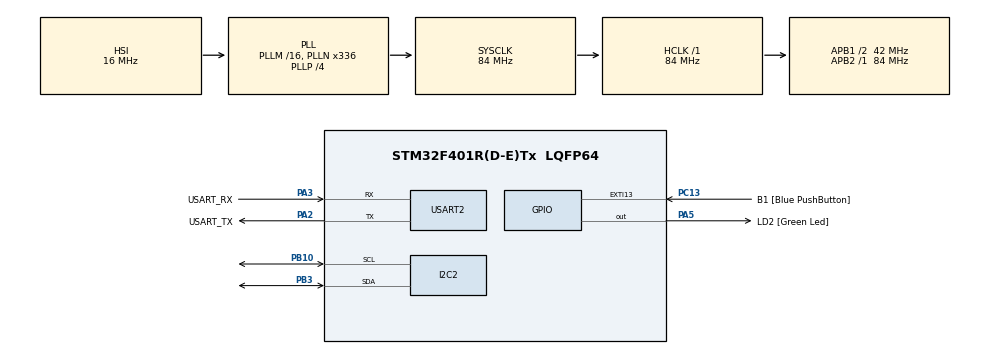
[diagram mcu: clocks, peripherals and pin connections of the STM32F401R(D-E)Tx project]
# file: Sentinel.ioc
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FREERTOS.Tasks01=defaultTask,24,128,StartDefaultTask,Default,NULL,Dynamic,NULL,NULL
Mcu.Family=STM32F4
Mcu.Name=STM32F401R(D-E)Tx
Mcu.Package=LQFP64
NVIC.PriorityGroup=NVIC_PRIORITYGROUP_4
NVIC.TIM1_TRG_COM_TIM11_IRQn=true\:15\:0\:false\:false\:true\:false\:false\:true\:true
NVIC.TimeBase=TIM1_TRG_COM_TIM11_IRQn
NVIC.TimeBaseIP=TIM11
PA13.GPIO_Label=TMS
PA13.Mode=Serial_Wire
PA13.Signal=SYS_JTMS-SWDIO
PA14.GPIO_Label=TCK
PA14.Mode=Serial_Wire
PA14.Signal=SYS_JTCK-SWCLK
PA2.GPIO_Label=USART_TX
PA2.GPIO_Mode=GPIO_MODE_AF_PP
PA2.GPIO_PuPd=GPIO_NOPULL
PA2.GPIO_Speed=GPIO_SPEED_FREQ_LOW
PA2.Mode=Asynchronous
PA2.Signal=USART2_TX
PA3.GPIO_Label=USART_RX
PA3.GPIO_Mode=GPIO_MODE_AF_PP
PA3.GPIO_PuPd=GPIO_NOPULL
PA3.GPIO_Speed=GPIO_SPEED_FREQ_LOW
PA3.Mode=Asynchronous
PA3.Signal=USART2_RX
PA5.GPIO_Label=LD2 [Green Led]
PA5.GPIO_Mode=GPIO_MODE_OUTPUT_PP
PA5.GPIO_PuPd=GPIO_NOPULL
PA5.GPIO_Speed=GPIO_SPEED_FREQ_LOW
PA5.Signal=GPIO_Output
PB10.Mode=I2C
PB10.Signal=I2C2_SCL
PB3.Mode=I2C
PB3.Signal=I2C2_SDA
PC13-ANTI_TAMP.GPIO_Label=B1 [Blue PushButton]
PC13-ANTI_TAMP.GPIO_ModeDefaultEXTI=GPIO_MODE_IT_FALLING
PC13-ANTI_TAMP.GPIO_PuPd=GPIO_NOPULL
PC13-ANTI_TAMP.Signal=GPXTI13
PC14-OSC32_IN.Mode=LSE-External-Oscillator
PC14-OSC32_IN.Signal=RCC_OSC32_IN
PC15-OSC32_OUT.Mode=LSE-External-Oscillator
PC15-OSC32_OUT.Signal=RCC_OSC32_OUT
PH0\ -\ OSC_IN.Mode=HSE-External-Clock-Source
PH0\ -\ OSC_IN.Signal=RCC_OSC_IN
PH1\ -\ OSC_OUT.Mode=HSE-External-Clock-Source
PH1\ -\ OSC_OUT.Signal=RCC_OSC_OUT
ProjectManager.HeapSize=0x200
ProjectManager.StackSize=0x400
ProjectManager.TargetToolchain=STM32CubeIDE
RCC.48MHZClocksFreq_Value=48000000
RCC.AHBFreq_Value=84000000
RCC.APB1CLKDivider=RCC_HCLK_DIV2
RCC.APB1Freq_Value=42000000
RCC.APB1TimFreq_Value=84000000
RCC.APB2Freq_Value=84000000
RCC.APB2TimFreq_Value=84000000
RCC.CortexFreq_Value=84000000
RCC.HCLKFreq_Value=84000000
RCC.HSE_VALUE=8000000
RCC.HSI_VALUE=16000000
RCC.PLLN=336
RCC.PLLP=RCC_PLLP_DIV4
RCC.PLLQ=7
RCC.SYSCLKFreq_VALUE=84000000
RCC.SYSCLKSource=RCC_SYSCLKSOURCE_PLLCLK
RCC.VCOOutputFreq_Value=336000000
USART2.VirtualMode=VM_ASYNC
VP_FREERTOS_VS_CMSIS_V2.Mode=CMSIS_V2
VP_SYS_VS_tim11.Mode=TIM11
board=NUCLEO-F401RE

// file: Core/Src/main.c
/* USER CODE BEGIN Header */
/**
  ******************************************************************************
  * @file           : main.c
  * @brief          : Main program body
  ******************************************************************************
  * @attention
  *
  * Copyright (c) 2026 STMicroelectronics.
  * All rights reserved.
  *
  * This software is licensed under terms that can be found in the LICENSE file
  * in the root directory of this software component.
  * If no LICENSE file comes with this software, it is provided AS-IS.
  *
  ******************************************************************************
  */
/* USER CODE END Header */
#include "main.h"
#include "cmsis_os.h"
#include "i2c.h"
#include "usart.h"
#include "gpio.h"
#include "drv_gpio.h"
#include "drv_exti.h"
#include "led.h"
#include "buzzer.h"
#include "relay.h"
#include "keypad.h"

/* USER CODE BEGIN Includes */
#include "tasks.h"
#include "drv_uart.h"

/* USER CODE END Includes */

/* USER CODE BEGIN PD */
// USART6 (STM32 <-> Pi link): PA11 TX / PA12 RX on AF8
#define USART6_TX_PIN (11U)
#define USART6_RX_PIN (12U)
#define USART6_AF     (8U)

/* USER CODE END PD */

void SystemClock_Config(void);
void MX_FREERTOS_Init(void);

int main(void)
{

  /* MCU Configuration--------------------------------------------------------*/

  /* Reset of all peripherals, Initializes the Flash interface and the Systick. */
  HAL_Init();

  /* Configure the system clock */
  SystemClock_Config();

  /* Initialize all configured peripherals */
  MX_GPIO_Init();
  MX_USART2_UART_Init();
  MX_I2C2_Init();
  /* USER CODE BEGIN 2 */
  LED_STATUS led_status = led_init(&GREEN_LED);
  led_status = led_init(&BLUE_LED);
  led_status = led_init(&RED_LED);

  led_status = led_turn_on(&GREEN_LED);
  led_status = led_turn_on(&BLUE_LED);
  led_status = led_turn_on(&RED_LED);

  BUZZER_STATUS buzzer_status = buzzer_init(&BUZZER);
  buzzer_status = buzzer_turn_on(&BUZZER);
  HAL_Delay(1000);
  buzzer_status = buzzer_turn_off(&BUZZER);

  RELAY_STATUS relay_status = relay_init(&RELAY);
  relay_status = relay_restore_power(&RELAY);
  HAL_Delay(1000);
  relay_status = relay_cut_power(&RELAY);

  // --- EXTI (PA10) test ---
  DRV_GPIO_STATUS pa10_status = drv_gpio_init_input(GPIOA, 10U, DRV_GPIO_PULL_UP);
  DRV_EXTI_STATUS exti_status = drv_exti_init(GPIOA, 10U, DRV_EXTI_FALLING_EDGE);
  exti_status = drv_exti_enable(EXTI15_10_IRQn, 5U);

  // --- USART6 (STM32 <-> Pi link) pins: TX driven by the STM32 (no pull), RX pulled up to idle HIGH when nothing drives it ---
  DRV_GPIO_STATUS uart_pin_status = drv_gpio_init_alternate_function(GPIOA, USART6_TX_PIN, USART6_AF, DRV_GPIO_PULL_NONE);
  uart_pin_status = drv_gpio_init_alternate_function(GPIOA, USART6_RX_PIN, USART6_AF, DRV_GPIO_PULL_UP);

  DRV_UART_STATUS uart_status = drv_uart_init(USART6, DRV_UART_MODE_FULL_DUPLEX, 115200);
  /* USER CODE END 2 */

  /* Init scheduler */
  osKernelInitialize();

  /* Call init function for freertos objects (in cmsis_os2.c) */
  MX_FREERTOS_Init();

  /* Start scheduler */
  osKernelStart();

  /* We should never get here as control is now taken by the scheduler */

  /* Infinite loop */
  while (1)
  {

  }
}

void SystemClock_Config(void)
{
  RCC_OscInitTypeDef RCC_OscInitStruct = {0};
  RCC_ClkInitTypeDef RCC_ClkInitStruct = {0};

  /** Configure the main internal regulator output voltage
  */
  __HAL_RCC_PWR_CLK_ENABLE();
  __HAL_PWR_VOLTAGESCALING_CONFIG(PWR_REGULATOR_VOLTAGE_SCALE2);

  /** Initializes the RCC Oscillators according to the specified parameters
  * in the RCC_OscInitTypeDef structure.
  */
  RCC_OscInitStruct.OscillatorType = RCC_OSCILLATORTYPE_HSI;
  RCC_OscInitStruct.HSIState = RCC_HSI_ON;
  RCC_OscInitStruct.HSICalibrationValue = RCC_HSICALIBRATION_DEFAULT;
  RCC_OscInitStruct.PLL.PLLState = RCC_PLL_ON;
  RCC_OscInitStruct.PLL.PLLSource = RCC_PLLSOURCE_HSI;
  RCC_OscInitStruct.PLL.PLLM = 16;
  RCC_OscInitStruct.PLL.PLLN = 336;
  RCC_OscInitStruct.PLL.PLLP = RCC_PLLP_DIV4;
  RCC_OscInitStruct.PLL.PLLQ = 7;
  if (HAL_RCC_OscConfig(&RCC_OscInitStruct) != HAL_OK)
  {
    Error_Handler();
  }

  /** Initializes the CPU, AHB and APB buses clocks
  */
  RCC_ClkInitStruct.ClockType = RCC_CLOCKTYPE_HCLK|RCC_CLOCKTYPE_SYSCLK
                              |RCC_CLOCKTYPE_PCLK1|RCC_CLOCKTYPE_PCLK2;
  RCC_ClkInitStruct.SYSCLKSource = RCC_SYSCLKSOURCE_PLLCLK;
  RCC_ClkInitStruct.AHBCLKDivider = RCC_SYSCLK_DIV1;
  RCC_ClkInitStruct.APB1CLKDivider = RCC_HCLK_DIV2;
  RCC_ClkInitStruct.APB2CLKDivider = RCC_HCLK_DIV1;

  if (HAL_RCC_ClockConfig(&RCC_ClkInitStruct, FLASH_LATENCY_2) != HAL_OK)
  {
    Error_Handler();
  }
}

void HAL_TIM_PeriodElapsedCallback(TIM_HandleTypeDef *htim)
{
  if (htim->Instance == TIM11)
  {
    HAL_IncTick();
  }
}

void Error_Handler(void)
{
  __disable_irq();
  while (1)
  {
  }
}

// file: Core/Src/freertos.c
/* USER CODE BEGIN Header */
/**
  ******************************************************************************
  * File Name          : freertos.c
  * Description        : Code for freertos applications
  ******************************************************************************
  * @attention
  *
  * Copyright (c) 2026 STMicroelectronics.
  * All rights reserved.
  *
  * This software is licensed under terms that can be found in the LICENSE file
  * in the root directory of this software component.
  * If no LICENSE file comes with this software, it is provided AS-IS.
  *
  ******************************************************************************
  */
/* USER CODE END Header */

#include "FreeRTOS.h"
#include "task.h"
#include "main.h"
#include "cmsis_os.h"

/* USER CODE BEGIN Includes */
#include "tasks.h"

/* USER CODE END Includes */

/* USER CODE BEGIN Variables */

const osThreadAttr_t sensorPollTask_attributes = {
		.name = "SensorPollTask",
		.stack_size = 128 * 4,
		.priority = (osPriority_t) osPriorityNormal,
};

const osThreadAttr_t localSensorTask_attributes = {
		.name = "LocalSensorTask",
		.stack_size = 128 * 4,
		.priority = (osPriority_t) osPriorityNormal,
};

const osThreadAttr_t safetyTask_attributes = {
		.name = "SafetyTask",
		.stack_size = 128 * 4,
		.priority = (osPriority_t) osPriorityHigh,
};

const osThreadAttr_t actuatorTask_attributes = {
		.name = "ActuatorTask",
		.stack_size = 128 * 4,
		.priority = (osPriority_t) osPriorityNormal,
};

const osThreadAttr_t displayTask_attributes = {
		.name = "DisplayTask",
		.stack_size = 128 * 4,
		.priority = (osPriority_t) osPriorityLow,
};

const osThreadAttr_t commsTask_attributes = {
		.name = "CommsTask",
		.stack_size = 128 * 4,
		.priority = (osPriority_t) osPriorityNormal,
};

const osThreadAttr_t watchdogTask_attributes = {
		.name = "WatchdogTask",
		.stack_size = 128 * 4,
		.priority = (osPriority_t) osPriorityHigh,
};

/* USER CODE END Variables */
/* Definitions for defaultTask */
osThreadId_t defaultTaskHandle;
const osThreadAttr_t defaultTask_attributes = {
  .name = "defaultTask",
  .stack_size = 128 * 4,
  .priority = (osPriority_t) osPriorityNormal,
};

void StartDefaultTask(void *argument);

void MX_FREERTOS_Init(void); /* (MISRA C 2004 rule 8.1) */

void MX_FREERTOS_Init(void) {

  /* Create the thread(s) */
  /* creation of defaultTask */
  defaultTaskHandle = osThreadNew(StartDefaultTask, NULL, &defaultTask_attributes);

  /* USER CODE BEGIN RTOS_THREADS */
  /* add threads, ... */
  osThreadId_t actuatorTaskHandle = osThreadNew(ActuatorTask, NULL, &actuatorTask_attributes);
  osThreadId_t commsTaskHandle = osThreadNew(CommsTask, NULL, &commsTask_attributes);
  osThreadId_t displayTaskHandle = osThreadNew(DisplayTask, NULL, &displayTask_attributes);
  osThreadId_t localSensorTaskHandle = osThreadNew(LocalSensorTask, NULL, &localSensorTask_attributes);
  osThreadId_t safetyTaskHandle = osThreadNew(SafetyTask, NULL, &safetyTask_attributes);
  osThreadId_t sensorPollTaskHandle = osThreadNew(SensorPollTask, NULL, &sensorPollTask_attributes);
  osThreadId_t watchdogTaskHandle = osThreadNew(WatchdogTask, NULL, &watchdogTask_attributes);
  /* USER CODE END RTOS_THREADS */

}

void StartDefaultTask(void *argument)
{
  for(;;)
  {
    osDelay(1);
  }
}
